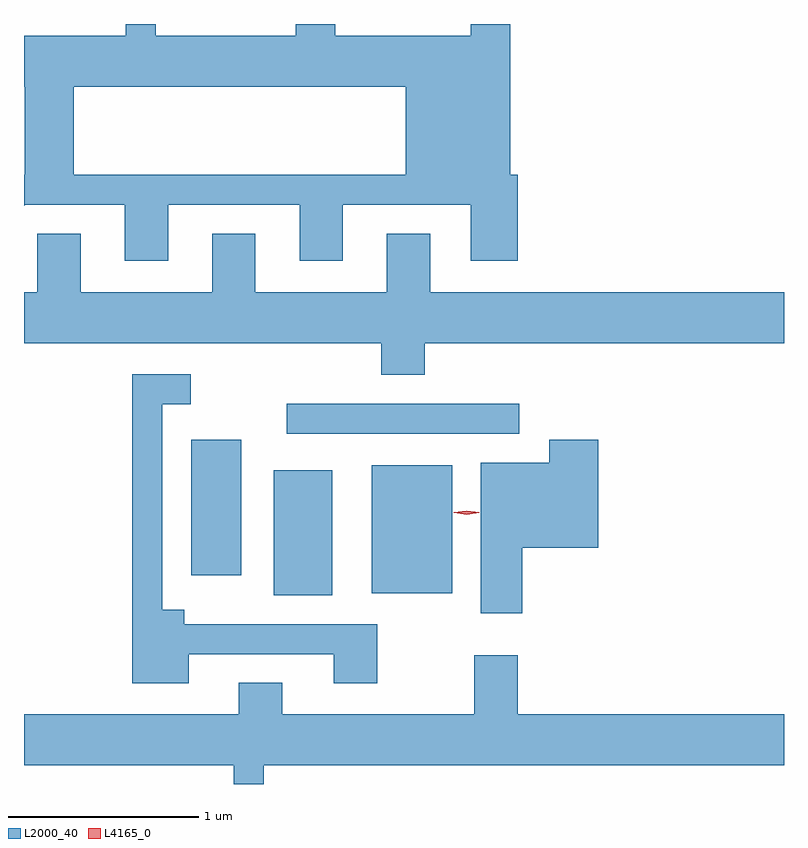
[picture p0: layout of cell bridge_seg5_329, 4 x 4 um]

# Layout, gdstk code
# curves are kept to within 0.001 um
import gdstk
lib = gdstk.Library(unit=1e-6, precision=1e-09)
def R(c, l, rs):  # rectangles x0, y0, x1, y1
    for r in rs: c.add(gdstk.rectangle(r[:2], r[2:], *l))
def P(c, l, *ps):  # polygons
    for p in ps: c.add(gdstk.Polygon(p, *l))
L2000_40 = (2000, 40)
L4165_0 = (4165, 0)

bridge_seg5_329 = lib.new_cell('bridge_seg5_329')
R(bridge_seg5_329, L2000_40, [(781.026,1448.811,781.334,1449.469), (781.541,1448.821,781.964,1449.494), (780.591,1448.916,780.854,1449.629), (781.093,1449.661,782.318,1449.819)])
P(bridge_seg5_329, L2000_40, [(780.469,1450.866),(781.161,1450.866),(781.161,1450.571),(781.389,1450.571),(781.389,1450.866),(782.061,1450.866),(782.061,1450.571),(782.309,1450.571),(782.309,1451.024),(782.269,1451.024),(782.269,1451.817),(782.061,1451.817),(782.061,1451.754),(781.349,1451.754),(781.349,1451.817),(781.141,1451.817),(781.141,1451.754),(780.404,1451.754),(780.404,1451.817),(780.246,1451.817),(780.246,1451.754),(779.711,1451.754),(779.711,1451.486),(779.716,1451.486),(779.716,1451.024),(779.974,1451.024),(779.974,1451.486),(781.721,1451.486),(781.721,1451.024),(779.711,1451.024),(779.711,1450.86),(779.717,1450.866),(780.241,1450.866),(780.241,1450.571),(780.469,1450.571)],
  [(781.819,1450.136),(783.711,1450.136),(783.711,1450.404),(781.849,1450.404),(781.849,1450.714),(781.621,1450.714),(781.621,1450.404),(780.929,1450.404),(780.929,1450.714),(780.701,1450.714),(780.701,1450.404),(780.009,1450.404),(780.009,1450.714),(779.781,1450.714),(779.781,1450.404),(779.711,1450.404),(779.711,1450.136),(781.591,1450.136),(781.591,1449.971),(781.819,1449.971)],
  [(780.579,1448.501),(781.341,1448.501),(781.341,1448.346),(781.569,1448.346),(781.569,1448.659),(780.554,1448.659),(780.554,1448.734),(780.439,1448.734),(780.439,1449.816),(780.588,1449.816),(780.588,1449.974),(780.281,1449.974),(780.281,1448.346),(780.579,1448.346)],
  [(782.334,1449.061),(782.734,1449.061),(782.734,1449.629),(782.476,1449.629),(782.476,1449.509),(782.116,1449.509),(782.116,1448.716),(782.334,1448.716)],
  [(780.974,1447.916),(783.711,1447.916),(783.711,1448.184),(782.309,1448.184),(782.309,1448.494),(782.081,1448.494),(782.081,1448.184),(781.069,1448.184),(781.069,1448.349),(780.841,1448.349),(780.841,1448.184),(779.711,1448.184),(779.711,1447.916),(780.816,1447.916),(780.816,1447.817),(780.974,1447.817)])
P(bridge_seg5_329, L4165_0, [(782.04,1449.235),(781.974,1449.245),(781.974,1449.245),(781.974,1449.246),(782.04,1449.255),(782.106,1449.246),(782.107,1449.245),(782.106,1449.245)])

lib.write_gds('bridge_seg5_329.gds')
